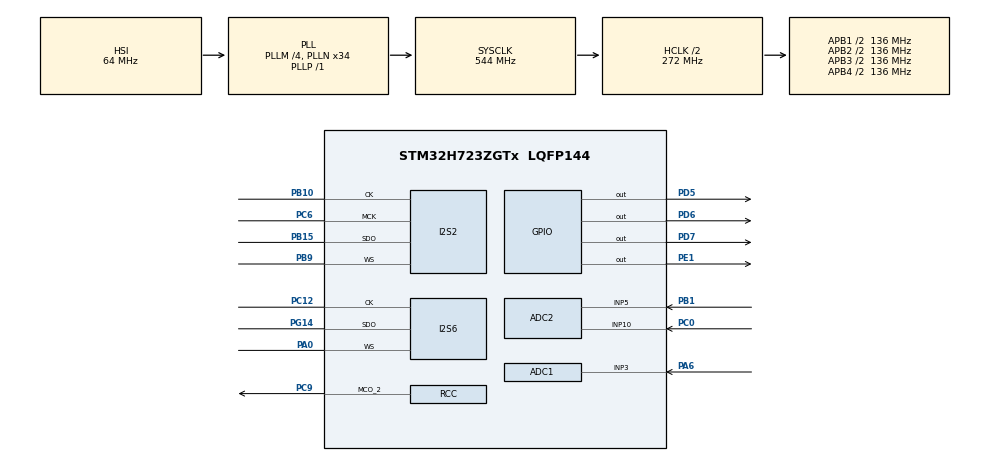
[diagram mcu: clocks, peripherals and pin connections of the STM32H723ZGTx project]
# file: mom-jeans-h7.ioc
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ADC1.Channel-1\#ChannelRegularConversion=ADC_CHANNEL_3
ADC1.ClockPrescaler=ADC_CLOCK_ASYNC_DIV2
ADC1.ConversionDataManagement=ADC_CONVERSIONDATA_DMA_CIRCULAR
ADC1.ExternalTrigConv=ADC_EXTERNALTRIG_T3_TRGO
ADC1.NbrOfConversionFlag=1
ADC1.OffsetNumber-1\#ChannelRegularConversion=ADC_OFFSET_NONE
ADC1.OffsetSignedSaturation-1\#ChannelRegularConversion=DISABLE
ADC1.Rank-1\#ChannelRegularConversion=1
ADC1.SamplingTime-1\#ChannelRegularConversion=ADC_SAMPLETIME_387CYCLES_5
ADC1.master=1
ADC2.Channel-0\#ChannelRegularConversion=ADC_CHANNEL_5
ADC2.ClockPrescaler=ADC_CLOCK_ASYNC_DIV2
ADC2.ContinuousConvMode=DISABLE
ADC2.ConversionDataManagement=ADC_CONVERSIONDATA_DMA_CIRCULAR
ADC2.ExternalTrigConv=ADC_EXTERNALTRIG_T8_TRGO
ADC2.NbrOfConversionFlag=1
ADC2.OffsetNumber-0\#ChannelRegularConversion=ADC_OFFSET_NONE
ADC2.OffsetSignedSaturation-0\#ChannelRegularConversion=DISABLE
ADC2.Rank-0\#ChannelRegularConversion=1
ADC2.SamplingTime-0\#ChannelRegularConversion=ADC_SAMPLETIME_64CYCLES_5
CORTEX_M7.default_mode_Activation=1
Dma.ADC1.2.Direction=DMA_PERIPH_TO_MEMORY
Dma.ADC1.2.EventEnable=DISABLE
Dma.ADC1.2.FIFOMode=DMA_FIFOMODE_DISABLE
Dma.ADC1.2.Instance=DMA1_Stream2
Dma.ADC1.2.MemDataAlignment=DMA_MDATAALIGN_HALFWORD
Dma.ADC1.2.MemInc=DMA_MINC_ENABLE
Dma.ADC1.2.Mode=DMA_CIRCULAR
Dma.ADC1.2.PeriphDataAlignment=DMA_PDATAALIGN_HALFWORD
Dma.ADC1.2.PeriphInc=DMA_PINC_DISABLE
Dma.ADC1.2.Polarity=HAL_DMAMUX_REQ_GEN_RISING
Dma.ADC1.2.Priority=DMA_PRIORITY_LOW
Dma.ADC1.2.RequestNumber=1
Dma.ADC1.2.SignalID=NONE
Dma.ADC1.2.SyncEnable=DISABLE
Dma.ADC1.2.SyncPolarity=HAL_DMAMUX_SYNC_NO_EVENT
Dma.ADC1.2.SyncRequestNumber=1
Dma.ADC1.2.SyncSignalID=NONE
Dma.ADC2.1.Direction=DMA_PERIPH_TO_MEMORY
Dma.ADC2.1.EventEnable=DISABLE
Dma.ADC2.1.FIFOMode=DMA_FIFOMODE_DISABLE
Dma.ADC2.1.Instance=DMA1_Stream1
Dma.ADC2.1.MemDataAlignment=DMA_MDATAALIGN_HALFWORD
Dma.ADC2.1.MemInc=DMA_MINC_ENABLE
Dma.ADC2.1.Mode=DMA_CIRCULAR
Dma.ADC2.1.PeriphDataAlignment=DMA_PDATAALIGN_HALFWORD
Dma.ADC2.1.PeriphInc=DMA_PINC_DISABLE
Dma.ADC2.1.Polarity=HAL_DMAMUX_REQ_GEN_RISING
Dma.ADC2.1.Priority=DMA_PRIORITY_LOW
Dma.ADC2.1.RequestNumber=1
Dma.ADC2.1.SignalID=NONE
Dma.ADC2.1.SyncEnable=DISABLE
Dma.ADC2.1.SyncPolarity=HAL_DMAMUX_SYNC_NO_EVENT
Dma.ADC2.1.SyncRequestNumber=1
Dma.ADC2.1.SyncSignalID=NONE
Dma.Request0=SPI2_TX
Dma.Request1=ADC2
Dma.Request2=ADC1
Dma.SPI2_TX.0.Direction=DMA_MEMORY_TO_PERIPH
Dma.SPI2_TX.0.EventEnable=DISABLE
Dma.SPI2_TX.0.FIFOMode=DMA_FIFOMODE_DISABLE
Dma.SPI2_TX.0.Instance=DMA1_Stream0
Dma.SPI2_TX.0.MemDataAlignment=DMA_MDATAALIGN_HALFWORD
Dma.SPI2_TX.0.MemInc=DMA_MINC_ENABLE
Dma.SPI2_TX.0.Mode=DMA_CIRCULAR
Dma.SPI2_TX.0.PeriphDataAlignment=DMA_PDATAALIGN_HALFWORD
Dma.SPI2_TX.0.PeriphInc=DMA_PINC_DISABLE
Dma.SPI2_TX.0.Polarity=HAL_DMAMUX_REQ_GEN_RISING
Dma.SPI2_TX.0.Priority=DMA_PRIORITY_VERY_HIGH
Dma.SPI2_TX.0.RequestNumber=1
Dma.SPI2_TX.0.SignalID=NONE
Dma.SPI2_TX.0.SyncEnable=DISABLE
Dma.SPI2_TX.0.SyncPolarity=HAL_DMAMUX_SYNC_NO_EVENT
Dma.SPI2_TX.0.SyncRequestNumber=1
Dma.SPI2_TX.0.SyncSignalID=NONE
I2S2.AudioFreq=I2S_AUDIOFREQ_22K
I2S2.DataFormat=I2S_DATAFORMAT_16B_EXTENDED
I2S2.ErrorAudioFreq=0.61 %
I2S2.Instance=SPI$Index
I2S2.RealAudioFreq=22.135 KHz
I2S6.AudioFreq=I2S_AUDIOFREQ_44K
I2S6.ErrorAudioFreq=-0.42 %
I2S6.Instance=SPI$Index
I2S6.RealAudioFreq=43.814 KHz
Mcu.Family=STM32H7
Mcu.Name=STM32H723ZGTx
Mcu.Package=LQFP144
NVIC.ADC_IRQn=true\:0\:0\:false\:false\:true\:true\:true\:true
NVIC.DMA1_Stream0_IRQn=true\:0\:0\:false\:false\:true\:false\:true\:true
NVIC.DMA1_Stream1_IRQn=true\:0\:0\:false\:false\:true\:false\:true\:true
NVIC.DMA1_Stream2_IRQn=true\:0\:0\:false\:false\:true\:false\:true\:true
NVIC.PriorityGroup=NVIC_PRIORITYGROUP_4
NVIC.TIM3_IRQn=true\:0\:0\:false\:false\:true\:true\:true\:true
PA0.Mode=Half_Duplex_Master_Tx
PA0.Signal=I2S6_WS
PA6.Signal=ADCx_INP3
PB1.Signal=ADCx_INP5
PB10.Mode=Half_Duplex_Master_Tx
PB10.Signal=I2S2_CK
PB15.Mode=Half_Duplex_Master_Tx
PB15.Signal=I2S2_SDO
PB9.Mode=Half_Duplex_Master_Tx
PB9.Signal=I2S2_WS
PC0.Signal=ADCx_INP10
PC12.Mode=Half_Duplex_Master_Tx
PC12.Signal=I2S6_CK
PC6.Mode=Master_Clock_Activated
PC6.Signal=I2S2_MCK
PC9.Mode=Clock-out-2
PC9.Signal=RCC_MCO_2
PD5.Signal=GPIO_Output
PD6.Signal=GPIO_Output
PD7.Signal=GPIO_Output
PE1.Signal=GPIO_Output
PG14.Mode=Half_Duplex_Master_Tx
PG14.Signal=I2S6_SDO
ProjectManager.HeapSize=0x200
ProjectManager.StackSize=0x400
ProjectManager.TargetToolchain=CMake
RCC.ADCFreq_Value=96000000
RCC.APB1Freq_Value=136000000
RCC.APB2Freq_Value=136000000
RCC.APB3Freq_Value=136000000
RCC.APB4Freq_Value=136000000
RCC.CortexFreq_Value=544000000
RCC.D1PPRE=RCC_APB3_DIV2
RCC.D2PPRE1=RCC_APB1_DIV2
RCC.D2PPRE2=RCC_APB2_DIV2
RCC.D3PPRE=RCC_APB4_DIV2
RCC.DIVM1=4
RCC.DIVM2=4
RCC.DIVM3=8
RCC.DIVN1=34
RCC.DIVN2=12
RCC.DIVN3=34
RCC.DIVP1=1
RCC.DIVP3=4
RCC.DIVQ1=4
RCC.HCLKFreq_Value=272000000
RCC.HPRE=RCC_HCLK_DIV2
RCC.PLL1_VCI_Range=RCC_PLL1VCIRANGE_3
RCC.PLL2FRACN=0
RCC.PLL3FRACN=0
RCC.PLLFRACN=0
RCC.PWREXT_OverDrive=PWREXT_OverDrive_ACTIVATED
RCC.SPI123CLockSelection=RCC_SPI123CLKSOURCE_PLL3
RCC.SYSCLKFreq_VALUE=544000000
RCC.SYSCLKSource=RCC_SYSCLKSOURCE_PLLCLK
RCC.USBFreq_Value=136000000
SH.ADCx_INP10.0=ADC2_INP10,IN10-Single-Ended
SH.ADCx_INP3.0=ADC1_INP3,IN3-Single-Ended
SH.ADCx_INP5.0=ADC2_INP5,IN5-Single-Ended
TIM3.Period=100-1
TIM3.Prescaler=19200-1
TIM3.TIM_MasterOutputTrigger=TIM_TRGO_UPDATE
TIM8.Period=256-1
TIM8.Prescaler=24-1
TIM8.RepetitionCounter=1
TIM8.TIM_MasterOutputTrigger=TIM_TRGO_UPDATE
VP_MEMORYMAP_VS_MEMORYMAP.Mode=CurAppReg
VP_TIM3_VS_ClockSourceINT.Mode=Internal
VP_TIM8_VS_ClockSourceINT.Mode=Internal
board=custom

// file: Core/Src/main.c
/* USER CODE BEGIN Header */
/**
  ******************************************************************************
  * @file           : main.c
  * @brief          : Main program body
  ******************************************************************************
  * @attention
  *
  * Copyright (c) 2025 STMicroelectronics.
  * All rights reserved.
  *
  * This software is licensed under terms that can be found in the LICENSE file
  * in the root directory of this software component.
  * If no LICENSE file comes with this software, it is provided AS-IS.
  *
  ******************************************************************************
  */
/* USER CODE END Header */
#include "main.h"

/* USER CODE BEGIN Includes */
#include "math.h"
#include "pulsar.h"
/* USER CODE END Includes */

/* USER CODE BEGIN PD */
#define BUFFER_SIZE 1024
#define SAMPLE_RATE 22058
#define LED_PIN GPIO_PIN_1
#define LED_GPIO_PORT GPIOE
/* USER CODE END PD */

ADC_HandleTypeDef hadc1;
ADC_HandleTypeDef hadc2;
DMA_HandleTypeDef hdma_adc1;
DMA_HandleTypeDef hdma_adc2;

I2S_HandleTypeDef hi2s2;
I2S_HandleTypeDef hi2s6;
DMA_HandleTypeDef hdma_spi2_tx;

TIM_HandleTypeDef htim3;
TIM_HandleTypeDef htim8;

/* USER CODE BEGIN PV */
__attribute__((section(".sram1"), aligned(32))) int16_t audioBuffer[BUFFER_SIZE];
__attribute__((section(".sram1"), aligned(32))) uint16_t potBuffer[1];  // DMA buffer for potentiometer ADC data
static const float potScaleFactor = 0.00001525902;
float potValues[8];
__attribute__((section(".sram1"), aligned(32))) uint16_t adcBuffer[BUFFER_SIZE / 2];  // DMA buffer for ADC data
volatile uint8_t halfBufferReady = 0;  // Flag for half buffer completion
volatile uint8_t fullBufferReady = 0;  // Flag for full buffer completion
volatile uint32_t readCounter = 0;
volatile uint32_t writeCounter = 0;
float phase = 0;
float frequency = 200;
volatile uint8_t mux_count = 0;
ps_t pulsar;
/* USER CODE END PV */

void SystemClock_Config(void);
void PeriphCommonClock_Config(void);
static void MPU_Config(void);
static void MX_GPIO_Init(void);
static void MX_DMA_Init(void);
static void MX_I2S2_Init(void);
static void MX_ADC1_Init(void);
static void MX_ADC2_Init(void);
static void MX_TIM8_Init(void);
static void MX_TIM3_Init(void);
static void MX_I2S6_Init(void);
/* USER CODE BEGIN PFP */
void enableCycleCounter();
uint32_t getCycleCount();
void setMultiplexerChannel(uint8_t channel);
void fillNoise(int16_t *buffer, int size);
float fillSine(int16_t *buffer, int size, float freq, float phase,
               float sr); // returns the phase for the next call
#define uint16_to_int16(x) ((int16_t)((x) - 32768))
/* USER CODE END PFP */

int main(void)
{

  /* MPU Configuration--------------------------------------------------------*/
  MPU_Config();

  /* MCU Configuration--------------------------------------------------------*/

  /* Reset of all peripherals, Initializes the Flash interface and the Systick. */
  HAL_Init();

  /* Configure the system clock */
  SystemClock_Config();

  /* Configure the peripherals common clocks */
  PeriphCommonClock_Config();

  /* Initialize all configured peripherals */
  MX_GPIO_Init();
  MX_DMA_Init();
  MX_I2S2_Init();
  MX_ADC1_Init();
  MX_ADC2_Init();
  MX_TIM8_Init();
  MX_TIM3_Init();
  MX_I2S6_Init();
  /* USER CODE BEGIN 2 */

  enableCycleCounter();

  pulsar_init(&pulsar, SAMPLE_RATE);
  HAL_StatusTypeDef status;
  HAL_ADCEx_Calibration_Start(&hadc1, ADC_CALIB_OFFSET, ADC_SINGLE_ENDED);
  status = HAL_ADC_Start_DMA(&hadc1, (uint32_t *) potBuffer, 1);
  HAL_TIM_Base_Start(&htim3);

  HAL_ADCEx_Calibration_Start(&hadc2, ADC_CALIB_OFFSET, ADC_SINGLE_ENDED);
  status = HAL_ADC_Start_DMA(&hadc2, (uint32_t *) adcBuffer, BUFFER_SIZE / 2);
  HAL_TIM_Base_Start(&htim8);

  for (int i = 0; i < BUFFER_SIZE / 2; i++) {
    adcBuffer[i] = 0;
  }

  fillSine(audioBuffer, BUFFER_SIZE, 200, 0, SAMPLE_RATE);
  for (int i = 0; i < BUFFER_SIZE; i+=2) {
    // audioBuffer[i] = (i % 2 == 0) ? 32767 : -32767;
    // audioBuffer[i] = 0;
    // audioBuffer[i + 1] = audioBuffer[i];
  }
  status = HAL_I2S_Transmit_DMA(&hi2s2, audioBuffer, BUFFER_SIZE);

  /* USER CODE END 2 */

  /* Infinite loop */
  /* USER CODE BEGIN WHILE */
  float scaleFactor = (-1.0 / 2.0) * 32768;

  DWT->CYCCNT = 0;  // Reset the cycle counter

  while (1)
  {
    if (halfBufferReady) {

      // float density = potValues[0] * 10.0 - 5.0;
      // float waveform = potValues[1] * 6.0;
      // float pitch = potValues[2] * 500.0 + 35.0;
      // float ratio = potValues[3];
      // float depth = potValues[4];

      // pulsar_configure(&pulsar, pitch, density, ratio, depth, waveform, 0, 0);
      // for (int i = 0; i < BUFFER_SIZE / 2; i+=2) {
      //   // DWT->CYCCNT = 0;  // Reset the cycle counter
      //   audioBuffer[i] = scaleFactor * pulsar_process(&pulsar, pitch, 0);
      //   audioBuffer[i + 1] = audioBuffer[i];
      //   // uint32_t endCycles = DWT->CYCCNT;
      //   // printf("Cycles: %lu\n", endCycles);
      // }

      for (int i = 0; i < BUFFER_SIZE / 2; i+=2) {
        audioBuffer[i] = adcBuffer[i / 2] - 32768;
        audioBuffer[i + 1] = adcBuffer[i / 2] - 32768;
      }

      halfBufferReady = 0;
      // SCB_CleanDCache_by_Addr((uint32_t *)audioBuffer, (BUFFER_SIZE / 2) * sizeof(uint16_t));
      writeCounter++;
    }

    if (fullBufferReady) {

      // float density = potValues[0] * 10.0 - 5.0;
      // float waveform = potValues[1] * 6.0;
      // float pitch = potValues[2] * 500.0 + 35.0;
      // float ratio = potValues[3];
      // float depth = potValues[4];

      // pulsar_configure(&pulsar, pitch, density, ratio, depth, waveform, 0, 0);
      // for (int i = BUFFER_SIZE / 2; i < BUFFER_SIZE; i+=2) {
      //   audioBuffer[i] = scaleFactor * pulsar_process(&pulsar, pitch, 0);
      //   audioBuffer[i + 1] = audioBuffer[i];
      // }
      // SCB_CleanDCache_by_Addr((uint32_t *) &audioBuffer[BUFFER_SIZE / 2], (BUFFER_SIZE / 2) * sizeof(uint16_t));

      for (int i = BUFFER_SIZE / 2; i < BUFFER_SIZE; i+=2) {
        audioBuffer[i] = adcBuffer[i / 2] - 32768;
        audioBuffer[i + 1] = adcBuffer[i / 2] - 32768;
      }

      fullBufferReady = 0;
    }

    HAL_GPIO_WritePin(LED_GPIO_PORT, LED_PIN, GPIO_PIN_SET);

    // turn on the LED if the write counter falls behind the read counter
    if (readCounter - writeCounter > 1) {
      HAL_GPIO_WritePin(LED_GPIO_PORT, LED_PIN, GPIO_PIN_SET);
    } else {
      HAL_GPIO_WritePin(LED_GPIO_PORT, LED_PIN, GPIO_PIN_RESET);
    }

    /* USER CODE END WHILE */

  }
}

void SystemClock_Config(void)
{
  RCC_OscInitTypeDef RCC_OscInitStruct = {0};
  RCC_ClkInitTypeDef RCC_ClkInitStruct = {0};

  /** Supply configuration update enable
  */
  HAL_PWREx_ConfigSupply(PWR_LDO_SUPPLY);

  /** Configure the main internal regulator output voltage
  */
  __HAL_PWR_VOLTAGESCALING_CONFIG(PWR_REGULATOR_VOLTAGE_SCALE0);

  while(!__HAL_PWR_GET_FLAG(PWR_FLAG_VOSRDY)) {}

  /** Initializes the RCC Oscillators according to the specified parameters
  * in the RCC_OscInitTypeDef structure.
  */
  RCC_OscInitStruct.OscillatorType = RCC_OSCILLATORTYPE_HSI;
  RCC_OscInitStruct.HSIState = RCC_HSI_DIV1;
  RCC_OscInitStruct.HSICalibrationValue = 64;
  RCC_OscInitStruct.PLL.PLLState = RCC_PLL_ON;
  RCC_OscInitStruct.PLL.PLLSource = RCC_PLLSOURCE_HSI;
  RCC_OscInitStruct.PLL.PLLM = 4;
  RCC_OscInitStruct.PLL.PLLN = 34;
  RCC_OscInitStruct.PLL.PLLP = 1;
  RCC_OscInitStruct.PLL.PLLQ = 4;
  RCC_OscInitStruct.PLL.PLLR = 2;
  RCC_OscInitStruct.PLL.PLLRGE = RCC_PLL1VCIRANGE_3;
  RCC_OscInitStruct.PLL.PLLVCOSEL = RCC_PLL1VCOWIDE;
  RCC_OscInitStruct.PLL.PLLFRACN = 0;
  if (HAL_RCC_OscConfig(&RCC_OscInitStruct) != HAL_OK)
  {
    Error_Handler();
  }

  /** Initializes the CPU, AHB and APB buses clocks
  */
  RCC_ClkInitStruct.ClockType = RCC_CLOCKTYPE_HCLK|RCC_CLOCKTYPE_SYSCLK
                              |RCC_CLOCKTYPE_PCLK1|RCC_CLOCKTYPE_PCLK2
                              |RCC_CLOCKTYPE_D3PCLK1|RCC_CLOCKTYPE_D1PCLK1;
  RCC_ClkInitStruct.SYSCLKSource = RCC_SYSCLKSOURCE_PLLCLK;
  RCC_ClkInitStruct.SYSCLKDivider = RCC_SYSCLK_DIV1;
  RCC_ClkInitStruct.AHBCLKDivider = RCC_HCLK_DIV2;
  RCC_ClkInitStruct.APB3CLKDivider = RCC_APB3_DIV2;
  RCC_ClkInitStruct.APB1CLKDivider = RCC_APB1_DIV2;
  RCC_ClkInitStruct.APB2CLKDivider = RCC_APB2_DIV2;
  RCC_ClkInitStruct.APB4CLKDivider = RCC_APB4_DIV2;

  if (HAL_RCC_ClockConfig(&RCC_ClkInitStruct, FLASH_LATENCY_3) != HAL_OK)
  {
    Error_Handler();
  }
  HAL_RCC_MCOConfig(RCC_MCO2, RCC_MCO2SOURCE_SYSCLK, RCC_MCODIV_1);
}

void PeriphCommonClock_Config(void)
{
  RCC_PeriphCLKInitTypeDef PeriphClkInitStruct = {0};

  /** Initializes the peripherals clock
  */
  PeriphClkInitStruct.PeriphClockSelection = RCC_PERIPHCLK_ADC;
  PeriphClkInitStruct.PLL2.PLL2M = 4;
  PeriphClkInitStruct.PLL2.PLL2N = 12;
  PeriphClkInitStruct.PLL2.PLL2P = 2;
  PeriphClkInitStruct.PLL2.PLL2Q = 2;
  PeriphClkInitStruct.PLL2.PLL2R = 2;
  PeriphClkInitStruct.PLL2.PLL2RGE = RCC_PLL2VCIRANGE_3;
  PeriphClkInitStruct.PLL2.PLL2VCOSEL = RCC_PLL2VCOWIDE;
  PeriphClkInitStruct.PLL2.PLL2FRACN = 0;
  PeriphClkInitStruct.AdcClockSelection = RCC_ADCCLKSOURCE_PLL2;
  if (HAL_RCCEx_PeriphCLKConfig(&PeriphClkInitStruct) != HAL_OK)
  {
    Error_Handler();
  }
}

static void MX_ADC1_Init(void)
{

  ADC_MultiModeTypeDef multimode = {0};
  ADC_ChannelConfTypeDef sConfig = {0};

  /** Common config
  */
  hadc1.Instance = ADC1;
  hadc1.Init.ClockPrescaler = ADC_CLOCK_ASYNC_DIV2;
  hadc1.Init.Resolution = ADC_RESOLUTION_16B;
  hadc1.Init.ScanConvMode = ADC_SCAN_DISABLE;
  hadc1.Init.EOCSelection = ADC_EOC_SINGLE_CONV;
  hadc1.Init.LowPowerAutoWait = DISABLE;
  hadc1.Init.ContinuousConvMode = DISABLE;
  hadc1.Init.NbrOfConversion = 1;
  hadc1.Init.DiscontinuousConvMode = DISABLE;
  hadc1.Init.ExternalTrigConv = ADC_EXTERNALTRIG_T3_TRGO;
  hadc1.Init.ExternalTrigConvEdge = ADC_EXTERNALTRIGCONVEDGE_RISING;
  hadc1.Init.ConversionDataManagement = ADC_CONVERSIONDATA_DMA_CIRCULAR;
  hadc1.Init.Overrun = ADC_OVR_DATA_PRESERVED;
  hadc1.Init.LeftBitShift = ADC_LEFTBITSHIFT_NONE;
  hadc1.Init.OversamplingMode = DISABLE;
  hadc1.Init.Oversampling.Ratio = 1;
  if (HAL_ADC_Init(&hadc1) != HAL_OK)
  {
    Error_Handler();
  }

  /** Configure the ADC multi-mode
  */
  multimode.Mode = ADC_MODE_INDEPENDENT;
  if (HAL_ADCEx_MultiModeConfigChannel(&hadc1, &multimode) != HAL_OK)
  {
    Error_Handler();
  }

  /** Configure Regular Channel
  */
  sConfig.Channel = ADC_CHANNEL_3;
  sConfig.Rank = ADC_REGULAR_RANK_1;
  sConfig.SamplingTime = ADC_SAMPLETIME_387CYCLES_5;
  sConfig.SingleDiff = ADC_SINGLE_ENDED;
  sConfig.OffsetNumber = ADC_OFFSET_NONE;
  sConfig.Offset = 0;
  sConfig.OffsetSignedSaturation = DISABLE;
  if (HAL_ADC_ConfigChannel(&hadc1, &sConfig) != HAL_OK)
  {
    Error_Handler();
  }

}

static void MX_ADC2_Init(void)
{

  ADC_ChannelConfTypeDef sConfig = {0};

  /** Common config
  */
  hadc2.Instance = ADC2;
  hadc2.Init.ClockPrescaler = ADC_CLOCK_ASYNC_DIV2;
  hadc2.Init.Resolution = ADC_RESOLUTION_16B;
  hadc2.Init.ScanConvMode = ADC_SCAN_DISABLE;
  hadc2.Init.EOCSelection = ADC_EOC_SINGLE_CONV;
  hadc2.Init.LowPowerAutoWait = DISABLE;
  hadc2.Init.ContinuousConvMode = DISABLE;
  hadc2.Init.NbrOfConversion = 1;
  hadc2.Init.DiscontinuousConvMode = DISABLE;
  hadc2.Init.ExternalTrigConv = ADC_EXTERNALTRIG_T8_TRGO;
  hadc2.Init.ExternalTrigConvEdge = ADC_EXTERNALTRIGCONVEDGE_RISING;
  hadc2.Init.ConversionDataManagement = ADC_CONVERSIONDATA_DMA_CIRCULAR;
  hadc2.Init.Overrun = ADC_OVR_DATA_PRESERVED;
  hadc2.Init.LeftBitShift = ADC_LEFTBITSHIFT_NONE;
  hadc2.Init.OversamplingMode = DISABLE;
  hadc2.Init.Oversampling.Ratio = 1;
  if (HAL_ADC_Init(&hadc2) != HAL_OK)
  {
    Error_Handler();
  }

  /** Configure Regular Channel
  */
  sConfig.Channel = ADC_CHANNEL_5;
  sConfig.Rank = ADC_REGULAR_RANK_1;
  sConfig.SamplingTime = ADC_SAMPLETIME_64CYCLES_5;
  sConfig.SingleDiff = ADC_SINGLE_ENDED;
  sConfig.OffsetNumber = ADC_OFFSET_NONE;
  sConfig.Offset = 0;
  sConfig.OffsetSignedSaturation = DISABLE;
  if (HAL_ADC_ConfigChannel(&hadc2, &sConfig) != HAL_OK)
  {
    Error_Handler();
  }

}

static void MX_I2S2_Init(void)
{

  hi2s2.Instance = SPI2;
  hi2s2.Init.Mode = I2S_MODE_MASTER_TX;
  hi2s2.Init.Standard = I2S_STANDARD_PHILIPS;
  hi2s2.Init.DataFormat = I2S_DATAFORMAT_16B_EXTENDED;
  hi2s2.Init.MCLKOutput = I2S_MCLKOUTPUT_ENABLE;
  hi2s2.Init.AudioFreq = I2S_AUDIOFREQ_22K;
  hi2s2.Init.CPOL = I2S_CPOL_LOW;
  hi2s2.Init.FirstBit = I2S_FIRSTBIT_MSB;
  hi2s2.Init.WSInversion = I2S_WS_INVERSION_DISABLE;
  hi2s2.Init.Data24BitAlignment = I2S_DATA_24BIT_ALIGNMENT_RIGHT;
  hi2s2.Init.MasterKeepIOState = I2S_MASTER_KEEP_IO_STATE_DISABLE;
  if (HAL_I2S_Init(&hi2s2) != HAL_OK)
  {
    Error_Handler();
  }

}

static void MX_I2S6_Init(void)
{

  hi2s6.Instance = SPI6;
  hi2s6.Init.Mode = I2S_MODE_MASTER_TX;
  hi2s6.Init.Standard = I2S_STANDARD_PHILIPS;
  hi2s6.Init.DataFormat = I2S_DATAFORMAT_16B;
  hi2s6.Init.MCLKOutput = I2S_MCLKOUTPUT_DISABLE;
  hi2s6.Init.AudioFreq = I2S_AUDIOFREQ_44K;
  hi2s6.Init.CPOL = I2S_CPOL_LOW;
  hi2s6.Init.FirstBit = I2S_FIRSTBIT_MSB;
  hi2s6.Init.WSInversion = I2S_WS_INVERSION_DISABLE;
  hi2s6.Init.Data24BitAlignment = I2S_DATA_24BIT_ALIGNMENT_RIGHT;
  hi2s6.Init.MasterKeepIOState = I2S_MASTER_KEEP_IO_STATE_DISABLE;
  if (HAL_I2S_Init(&hi2s6) != HAL_OK)
  {
    Error_Handler();
  }

}

static void MX_TIM3_Init(void)
{

  TIM_ClockConfigTypeDef sClockSourceConfig = {0};
  TIM_MasterConfigTypeDef sMasterConfig = {0};

  htim3.Instance = TIM3;
  htim3.Init.Prescaler = 19200-1;
  htim3.Init.CounterMode = TIM_COUNTERMODE_UP;
  htim3.Init.Period = 100-1;
  htim3.Init.ClockDivision = TIM_CLOCKDIVISION_DIV1;
  htim3.Init.AutoReloadPreload = TIM_AUTORELOAD_PRELOAD_DISABLE;
  if (HAL_TIM_Base_Init(&htim3) != HAL_OK)
  {
    Error_Handler();
  }
  sClockSourceConfig.ClockSource = TIM_CLOCKSOURCE_INTERNAL;
  if (HAL_TIM_ConfigClockSource(&htim3, &sClockSourceConfig) != HAL_OK)
  {
    Error_Handler();
  }
  sMasterConfig.MasterOutputTrigger = TIM_TRGO_UPDATE;
  sMasterConfig.MasterSlaveMode = TIM_MASTERSLAVEMODE_DISABLE;
  if (HAL_TIMEx_MasterConfigSynchronization(&htim3, &sMasterConfig) != HAL_OK)
  {
    Error_Handler();
  }

}

static void MX_TIM8_Init(void)
{

  TIM_ClockConfigTypeDef sClockSourceConfig = {0};
  TIM_MasterConfigTypeDef sMasterConfig = {0};

  htim8.Instance = TIM8;
  htim8.Init.Prescaler = 24-1;
  htim8.Init.CounterMode = TIM_COUNTERMODE_UP;
  htim8.Init.Period = 256-1;
  htim8.Init.ClockDivision = TIM_CLOCKDIVISION_DIV1;
  htim8.Init.RepetitionCounter = 1;
  htim8.Init.AutoReloadPreload = TIM_AUTORELOAD_PRELOAD_DISABLE;
  if (HAL_TIM_Base_Init(&htim8) != HAL_OK)
  {
    Error_Handler();
  }
  sClockSourceConfig.ClockSource = TIM_CLOCKSOURCE_INTERNAL;
  if (HAL_TIM_ConfigClockSource(&htim8, &sClockSourceConfig) != HAL_OK)
  {
    Error_Handler();
  }
  sMasterConfig.MasterOutputTrigger = TIM_TRGO_UPDATE;
  sMasterConfig.MasterOutputTrigger2 = TIM_TRGO2_RESET;
  sMasterConfig.MasterSlaveMode = TIM_MASTERSLAVEMODE_DISABLE;
  if (HAL_TIMEx_MasterConfigSynchronization(&htim8, &sMasterConfig) != HAL_OK)
  {
    Error_Handler();
  }

}

static void MX_DMA_Init(void)
{

  /* DMA controller clock enable */
  __HAL_RCC_DMA1_CLK_ENABLE();

  /* DMA interrupt init */
  /* DMA1_Stream0_IRQn interrupt configuration */
  HAL_NVIC_SetPriority(DMA1_Stream0_IRQn, 0, 0);
  HAL_NVIC_EnableIRQ(DMA1_Stream0_IRQn);
  /* DMA1_Stream1_IRQn interrupt configuration */
  HAL_NVIC_SetPriority(DMA1_Stream1_IRQn, 0, 0);
  HAL_NVIC_EnableIRQ(DMA1_Stream1_IRQn);
  /* DMA1_Stream2_IRQn interrupt configuration */
  HAL_NVIC_SetPriority(DMA1_Stream2_IRQn, 0, 0);
  HAL_NVIC_EnableIRQ(DMA1_Stream2_IRQn);

}

static void MX_GPIO_Init(void)
{
  GPIO_InitTypeDef GPIO_InitStruct = {0};

  /* GPIO Ports Clock Enable */
  __HAL_RCC_GPIOC_CLK_ENABLE();
  __HAL_RCC_GPIOA_CLK_ENABLE();
  __HAL_RCC_GPIOB_CLK_ENABLE();
  __HAL_RCC_GPIOD_CLK_ENABLE();
  __HAL_RCC_GPIOG_CLK_ENABLE();
  __HAL_RCC_GPIOE_CLK_ENABLE();

  /*Configure GPIO pin Output Level */
  HAL_GPIO_WritePin(GPIOD, GPIO_PIN_5|GPIO_PIN_6|GPIO_PIN_7, GPIO_PIN_RESET);

  /*Configure GPIO pin Output Level */
  HAL_GPIO_WritePin(GPIOE, GPIO_PIN_1, GPIO_PIN_RESET);

  /*Configure GPIO pin : PC9 */
  GPIO_InitStruct.Pin = GPIO_PIN_9;
  GPIO_InitStruct.Mode = GPIO_MODE_AF_PP;
  GPIO_InitStruct.Pull = GPIO_NOPULL;
  GPIO_InitStruct.Speed = GPIO_SPEED_FREQ_LOW;
  GPIO_InitStruct.Alternate = GPIO_AF0_MCO;
  HAL_GPIO_Init(GPIOC, &GPIO_InitStruct);

  /*Configure GPIO pins : PD5 PD6 PD7 */
  GPIO_InitStruct.Pin = GPIO_PIN_5|GPIO_PIN_6|GPIO_PIN_7;
  GPIO_InitStruct.Mode = GPIO_MODE_OUTPUT_PP;
  GPIO_InitStruct.Pull = GPIO_NOPULL;
  GPIO_InitStruct.Speed = GPIO_SPEED_FREQ_LOW;
  HAL_GPIO_Init(GPIOD, &GPIO_InitStruct);

  /*Configure GPIO pin : PE1 */
  GPIO_InitStruct.Pin = GPIO_PIN_1;
  GPIO_InitStruct.Mode = GPIO_MODE_OUTPUT_PP;
  GPIO_InitStruct.Pull = GPIO_NOPULL;
  GPIO_InitStruct.Speed = GPIO_SPEED_FREQ_LOW;
  HAL_GPIO_Init(GPIOE, &GPIO_InitStruct);

}

/* USER CODE BEGIN 4 */
void enableCycleCounter() {
    // // Enable the DWT unit
    // if (!(CoreDebug->DEMCR & CoreDebug_DEMCR_TRCENA_Msk)) {
    //     CoreDebug->DEMCR |= CoreDebug_DEMCR_TRCENA_Msk; // Enable trace and debug block
    // }

    // // Reset and enable the cycle counter
    // DWT->CYCCNT = 0;               // Reset the cycle counter
    // DWT->CTRL |= DWT_CTRL_CYCCNTENA_Msk; // Enable the cycle counter

    CoreDebug->DEMCR &= ~0x01000000;

    CoreDebug->DEMCR |=  0x01000000; // TRCENA

    DWT->LAR = 0xC5ACCE55; // unlock

    DWT->CYCCNT = 0; // reset the counter

    DWT->CTRL &= ~0x00000001;

    DWT->CTRL |=  0x00000001; // enable the counter
}

uint32_t getCycleCount() {
    return DWT->CYCCNT; // Return the current cycle count
}

void setMultiplexerChannel(uint8_t channel) {
    HAL_GPIO_WritePin(GPIOD, GPIO_PIN_5, (channel & 0x01) ? GPIO_PIN_SET : GPIO_PIN_RESET);
    HAL_GPIO_WritePin(GPIOD, GPIO_PIN_6, (channel & 0x02) ? GPIO_PIN_SET : GPIO_PIN_RESET);
    HAL_GPIO_WritePin(GPIOD, GPIO_PIN_7, (channel & 0x04) ? GPIO_PIN_SET : GPIO_PIN_RESET);
}

void fillNoise(int16_t *buffer, int size) {}

float fillSine(int16_t *buffer, int size, float freq, float phase, float sr) {
  static float twopi = 2 * 3.14159;
  static float scaleFactor = (1.0 / 4.0) * 32768;
  // float phaseIncrement = twopi * freq / sr;
  float phaseIncrement = twopi * 16.0f / size;
  for (int i = 0; i < size; i += 2) {
    // buffer[i] = scaleFactor * arm_sin_f32(phase);
    buffer[i] = scaleFactor * sinf(phase);
    // arm_sin_f32(phase, &buffer[i]);
    buffer[i + 1] = buffer[i];
    buffer[i + 1] = 0;
    phase += phaseIncrement;
  }

  if (phase > twopi) {
    phase -= twopi;
  }

  return phase;
}

// Callback for ADC full transfer complete
void HAL_ADC_ConvCpltCallback(ADC_HandleTypeDef *hadc) {
  if (hadc->Instance == ADC1) {
    potValues[mux_count] = potBuffer[0] * potScaleFactor;
    mux_count = (mux_count + 1) % 8;
    setMultiplexerChannel(mux_count);
  } else if (hadc->Instance == ADC2) {
    // SCB_InvalidateDCache_by_Addr((uint32_t *)adcBuffer, (BUFFER_SIZE / 2) * sizeof(uint16_t));

  }
}

// Callback for Half Transfer Complete
void HAL_I2S_TxHalfCpltCallback(I2S_HandleTypeDef *hi2s) {
  if (hi2s->Instance==SPI2) {
    halfBufferReady = 1;
    // SCB_InvalidateDCache_by_Addr((uint32_t *)audioBuffer, (BUFFER_SIZE / 2) * sizeof(uint16_t));
    readCounter++;
  }
}

// Callback for Full Transfer Complete
void HAL_I2S_TxCpltCallback(I2S_HandleTypeDef *hi2s) {
  if (hi2s->Instance==SPI2) {
    // SCB_InvalidateDCache_by_Addr((uint32_t *) &audioBuffer[BUFFER_SIZE / 2], (BUFFER_SIZE / 2) * sizeof(uint16_t));
    fullBufferReady = 1;
  }
}

void HAL_I2S_ErrorCallback(I2S_HandleTypeDef *hi2s)
{
    uint32_t error = HAL_I2S_GetError(hi2s);
    uint32_t dma_error = HAL_DMA_GetError(&hdma_spi2_tx);
    // printf("I2S Error: %lu\n", error);
}
/* USER CODE END 4 */

 /* MPU Configuration */

void MPU_Config(void)
{
  MPU_Region_InitTypeDef MPU_InitStruct = {0};

  /* Disables the MPU */
  HAL_MPU_Disable();

  /** Initializes and configures the Region and the memory to be protected
  */
  MPU_InitStruct.Enable = MPU_REGION_ENABLE;
  MPU_InitStruct.Number = MPU_REGION_NUMBER0;
  MPU_InitStruct.BaseAddress = 0x0;
  MPU_InitStruct.Size = MPU_REGION_SIZE_4GB;
  MPU_InitStruct.SubRegionDisable = 0x87;
  MPU_InitStruct.TypeExtField = MPU_TEX_LEVEL0;
  MPU_InitStruct.AccessPermission = MPU_REGION_NO_ACCESS;
  MPU_InitStruct.DisableExec = MPU_INSTRUCTION_ACCESS_DISABLE;
  MPU_InitStruct.IsShareable = MPU_ACCESS_SHAREABLE;
  MPU_InitStruct.IsCacheable = MPU_ACCESS_NOT_CACHEABLE;
  MPU_InitStruct.IsBufferable = MPU_ACCESS_NOT_BUFFERABLE;

  HAL_MPU_ConfigRegion(&MPU_InitStruct);
  /* Enables the MPU */
  HAL_MPU_Enable(MPU_PRIVILEGED_DEFAULT);

}

void Error_Handler(void)
{
  __disable_irq();
  while (1)
  {
  }
}
